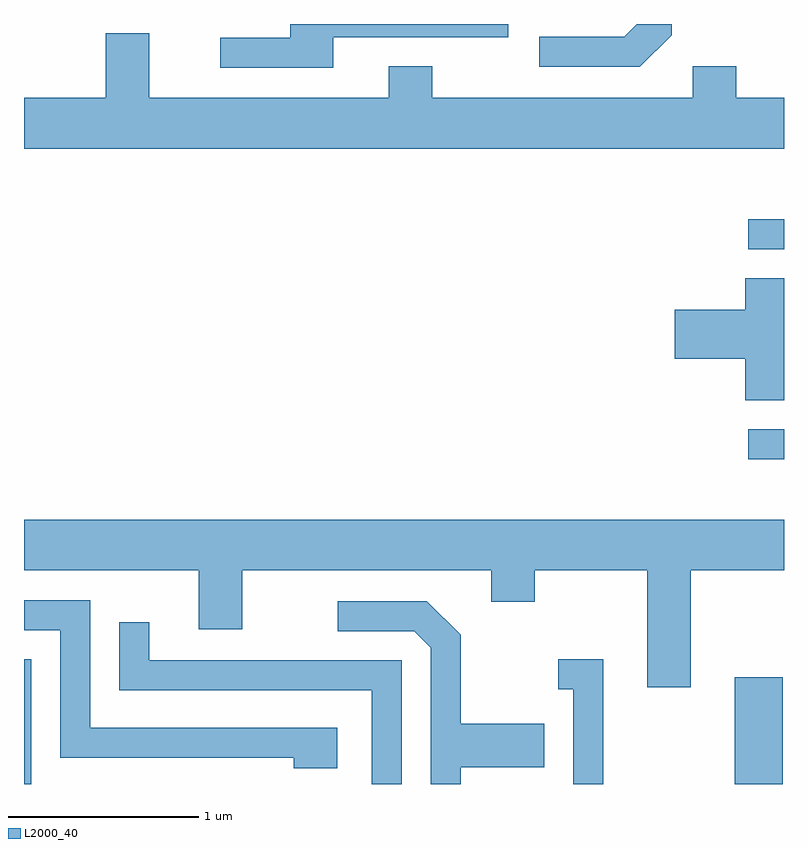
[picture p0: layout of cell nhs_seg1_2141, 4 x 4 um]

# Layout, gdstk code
import gdstk
lib = gdstk.Library(unit=1e-6, precision=1e-09)
def R(c, l, rs):  # rectangles x0, y0, x1, y1
    for r in rs: c.add(gdstk.rectangle(r[:2], r[2:], *l))
def P(c, l, *ps):  # polygons
    for p in ps: c.add(gdstk.Polygon(p, *l))
L2000_40 = (2000, 40)

nhs_seg1_2141 = lib.new_cell('nhs_seg1_2141')
R(nhs_seg1_2141, L2000_40, [(249.611,971.712,249.649,972.369), (253.351,971.712,253.604,972.274), (253.423,973.421,253.611,973.579), (253.423,974.526,253.611,974.684)])
P(nhs_seg1_2141, L2000_40, [(253.019,975.654),(253.019,975.712),(252.836,975.712),(252.769,975.644),(252.323,975.644),(252.323,975.486),(252.852,975.486)],
  [(251.239,975.641),(252.159,975.641),(252.159,975.712),(251.011,975.712),(251.011,975.639),(250.643,975.639),(250.643,975.481),(251.239,975.481)],
  [(253.611,975.324),(253.359,975.324),(253.359,975.489),(253.131,975.489),(253.131,975.324),(251.759,975.324),(251.759,975.489),(251.531,975.489),(251.531,975.324),(250.269,975.324),(250.269,975.664),(250.041,975.664),(250.041,975.324),(249.611,975.324),(249.611,975.056),(253.611,975.056)],
  [(253.611,974.374),(253.406,974.374),(253.406,974.209),(253.036,974.209),(253.036,973.951),(253.406,973.951),(253.406,973.731),(253.611,973.731)],
  [(249.611,972.836),(250.531,972.836),(250.531,972.526),(250.759,972.526),(250.759,972.836),(252.071,972.836),(252.071,972.671),(252.299,972.671),(252.299,972.836),(252.891,972.836),(252.891,972.221),(253.119,972.221),(253.119,972.836),(253.611,972.836),(253.611,973.104),(249.611,973.104)],
  [(251.259,972.009),(249.959,972.009),(249.959,972.679),(249.611,972.679),(249.611,972.521),(249.801,972.521),(249.801,971.851),(251.031,971.851),(251.031,971.796),(251.259,971.796)],
  [(251.909,971.801),(252.349,971.801),(252.349,972.029),(251.909,972.029),(251.909,972.497),(251.732,972.674),(251.263,972.674),(251.263,972.516),(251.664,972.516),(251.751,972.429),(251.751,971.712),(251.909,971.712)],
  [(251.599,972.364),(250.269,972.364),(250.269,972.563),(250.111,972.563),(250.111,972.206),(251.441,972.206),(251.441,971.712),(251.599,971.712)],
  [(252.659,972.369),(252.423,972.369),(252.423,972.211),(252.501,972.211),(252.501,971.712),(252.659,971.712)])

lib.write_gds('nhs_seg1_2141.gds')
